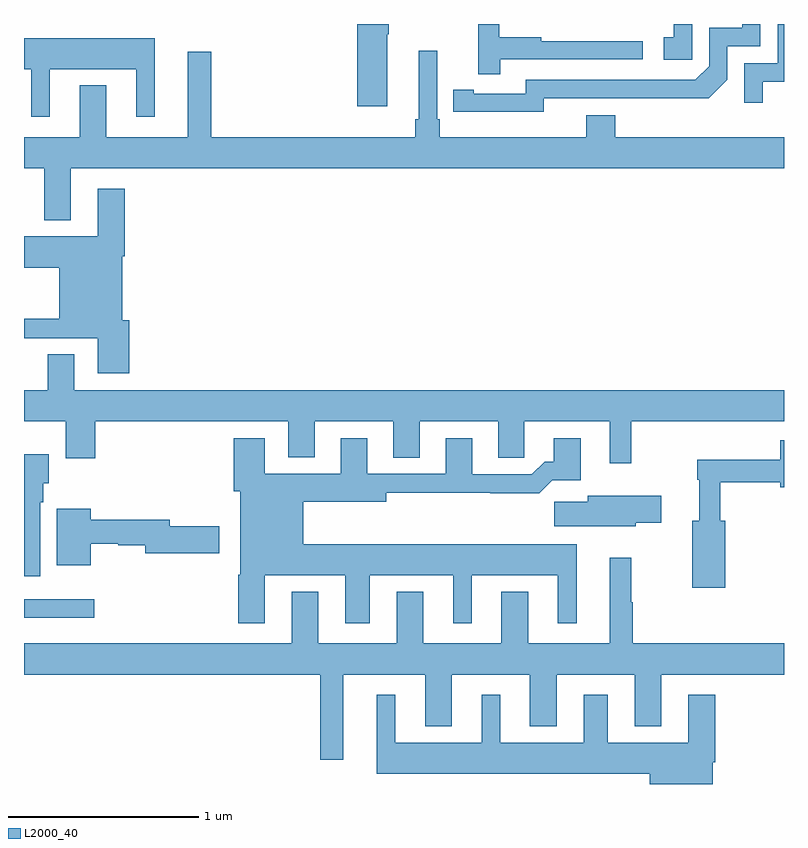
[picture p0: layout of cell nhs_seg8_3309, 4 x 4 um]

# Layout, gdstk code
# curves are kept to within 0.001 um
import gdstk
lib = gdstk.Library(unit=1e-6, precision=1e-09)
def R(c, l, rs):  # rectangles x0, y0, x1, y1
    for r in rs: c.add(gdstk.rectangle(r[:2], r[2:], *l))
def P(c, l, *ps):  # polygons
    for p in ps: c.add(gdstk.Polygon(p, *l))
L2000_40 = (2000, 40)

nhs_seg8_3309 = lib.new_cell('nhs_seg8_3309')
R(nhs_seg8_3309, L2000_40, [(315,1140.776,315.37,1140.873), (317.811,1143.899,318.238,1143.9)])
P(nhs_seg8_3309, L2000_40, [(318.516,1143.9),(318.419,1143.9),(318.419,1143.831),(318.366,1143.831),(318.366,1143.711),(318.516,1143.711)],
  [(316.912,1143.847),(316.92,1143.847),(316.92,1143.9),(316.754,1143.9),(316.754,1143.468),(316.912,1143.468)],
  [(317.507,1143.714),(318.256,1143.714),(318.256,1143.81),(317.723,1143.81),(317.723,1143.83),(317.5,1143.83),(317.5,1143.9),(317.39,1143.9),(317.39,1143.636),(317.507,1143.636)],
  [(317.736,1143.51),(318.604,1143.509),(318.702,1143.606),(318.702,1143.783),(318.876,1143.783),(318.876,1143.9),(318.779,1143.9),(318.779,1143.879),(318.606,1143.879),(318.606,1143.678),(318.534,1143.606),(317.64,1143.606),(317.64,1143.534),(317.368,1143.534),(317.368,1143.554),(317.26,1143.554),(317.26,1143.438),(317.736,1143.437)],
  [(318.889,1143.597),(319,1143.597),(319,1143.9),(318.966,1143.9),(318.966,1143.693),(318.792,1143.693),(318.792,1143.486),(318.889,1143.486)],
  [(315.136,1143.662),(315.59,1143.662),(315.59,1143.411),(315.688,1143.411),(315.688,1143.826),(315,1143.826),(315,1143.662),(315.038,1143.662),(315.038,1143.411),(315.136,1143.411)],
  [(315.247,1143.14),(319,1143.14),(319,1143.304),(318.113,1143.304),(318.113,1143.421),(317.96,1143.421),(317.96,1143.304),(317.189,1143.304),(317.189,1143.4),(317.175,1143.4),(317.175,1143.76),(317.078,1143.76),(317.078,1143.4),(317.059,1143.4),(317.059,1143.304),(315.985,1143.304),(315.985,1143.754),(315.863,1143.754),(315.863,1143.304),(315.433,1143.304),(315.433,1143.577),(315.293,1143.577),(315.293,1143.304),(315,1143.304),(315,1143.14),(315.107,1143.14),(315.107,1142.867),(315.247,1142.867)],
  [(315.554,1142.34),(315.517,1142.34),(315.517,1142.678),(315.53,1142.678),(315.53,1143.034),(315.389,1143.034),(315.389,1142.782),(315,1142.782),(315,1142.618),(315.185,1142.618),(315.185,1142.348),(315,1142.348),(315,1142.247),(315.389,1142.247),(315.389,1142.061),(315.554,1142.061)],
  [(318.197,1141.808),(319,1141.808),(319,1141.972),(315.265,1141.972),(315.265,1142.162),(315.125,1142.162),(315.125,1141.972),(315,1141.972),(315,1141.808),(315.221,1141.808),(315.221,1141.614),(315.374,1141.614),(315.374,1141.808),(316.391,1141.808),(316.391,1141.619),(316.531,1141.619),(316.531,1141.808),(316.943,1141.808),(316.943,1141.618),(317.083,1141.618),(317.083,1141.808),(317.495,1141.808),(317.495,1141.618),(317.634,1141.618),(317.634,1141.808),(318.083,1141.808),(318.083,1141.587),(318.197,1141.587)],
  [(316.267,1140.998),(316.691,1140.998),(316.691,1140.747),(316.819,1140.747),(316.819,1140.998),(317.258,1140.998),(317.258,1140.747),(317.356,1140.747),(317.356,1140.998),(317.81,1140.998),(317.81,1140.747),(317.908,1140.747),(317.908,1141.162),(316.471,1141.162),(316.471,1141.385),(316.906,1141.385),(316.906,1141.432),(317.455,1141.432),(317.455,1141.43),(317.711,1141.43),(317.78,1141.499),(317.929,1141.499),(317.929,1141.72),(317.789,1141.72),(317.789,1141.597),(317.74,1141.597),(317.673,1141.53),(317.359,1141.53),(317.359,1141.72),(317.219,1141.72),(317.219,1141.533),(316.807,1141.533),(316.807,1141.72),(316.667,1141.72),(316.667,1141.534),(316.267,1141.534),(316.267,1141.72),(316.103,1141.72),(316.103,1141.44),(316.139,1141.44),(316.139,1141.002),(316.127,1141.002),(316.127,1140.747),(316.267,1140.747)],
  [(318.69,1141.285),(318.664,1141.285),(318.664,1141.489),(318.98,1141.489),(318.98,1141.463),(319,1141.463),(319,1141.708),(318.98,1141.708),(318.98,1141.607),(318.543,1141.607),(318.543,1141.502),(318.554,1141.502),(318.554,1141.285),(318.517,1141.285),(318.517,1140.933),(318.69,1140.933)],
  [(315.085,1141.382),(315.1,1141.382),(315.1,1141.482),(315.13,1141.482),(315.13,1141.636),(315,1141.636),(315,1140.993),(315.085,1140.993)],
  [(318.22,1141.274),(318.355,1141.274),(318.355,1141.417),(317.966,1141.417),(317.966,1141.385),(317.79,1141.385),(317.79,1141.256),(318.22,1141.256)],
  [(315.352,1141.164),(315.495,1141.164),(315.495,1141.156),(315.638,1141.156),(315.638,1141.114),(316.027,1141.114),(316.027,1141.256),(315.766,1141.256),(315.766,1141.292),(315.352,1141.292),(315.352,1141.348),(315.173,1141.348),(315.173,1141.052),(315.352,1141.052)],
  [(316.681,1140.476),(317.111,1140.476),(317.111,1140.203),(317.251,1140.203),(317.251,1140.476),(317.663,1140.476),(317.663,1140.203),(317.803,1140.203),(317.803,1140.476),(318.215,1140.476),(318.215,1140.203),(318.355,1140.203),(318.355,1140.476),(319,1140.476),(319,1140.64),(318.205,1140.64),(318.205,1140.857),(318.197,1140.857),(318.197,1141.09),(318.083,1141.09),(318.083,1140.64),(317.653,1140.64),(317.653,1140.913),(317.513,1140.913),(317.513,1140.64),(317.101,1140.64),(317.101,1140.913),(316.961,1140.913),(316.961,1140.64),(316.549,1140.64),(316.549,1140.913),(316.409,1140.913),(316.409,1140.64),(315,1140.64),(315,1140.476),(316.56,1140.476),(316.56,1140.027),(316.681,1140.027)],
  [(318.625,1140.014),(318.638,1140.014),(318.638,1140.37),(318.497,1140.37),(318.497,1140.118),(318.073,1140.118),(318.073,1140.37),(317.945,1140.37),(317.945,1140.118),(317.506,1140.118),(317.506,1140.37),(317.408,1140.37),(317.408,1140.118),(316.954,1140.118),(316.954,1140.37),(316.856,1140.37),(316.856,1139.954),(318.293,1139.954),(318.293,1139.9),(318.625,1139.9)])

lib.write_gds('nhs_seg8_3309.gds')
